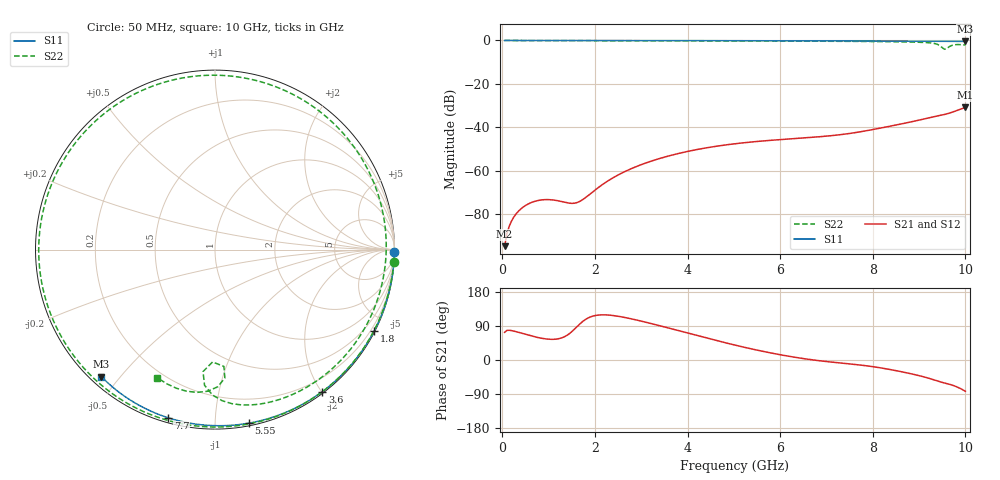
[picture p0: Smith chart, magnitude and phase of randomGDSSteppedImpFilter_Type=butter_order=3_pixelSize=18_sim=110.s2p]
! freq	dB(S11)	phase(S11)	dB(S12)	phase(S12)
!  dB(S21)	phase(S21)	dB(S22)	phase(S22)
!S-par simulation data
#  GHz  S  DB  R 50
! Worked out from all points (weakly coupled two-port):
!   200 points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, 50 MHz to 10 GHz, reference 50 ohm
!   highest |S21| = -30.77 dB at 10 GHz (marker M1); lowest = -94.6 dB at 50 MHz (marker M2)
!   lowest |S11| = -0.5 dB at 10 GHz (marker M3), VSWR 38.59, Z = 1.55 - j22.3 ohm
!   |S11| at or under -10 dB: nowhere
!   |S22| runs from -4.1 to 0.0 dB; largest |S21 - S12| = 0
!   S11 on the Smith chart (normalised r, x): 50 MHz: open; 1.8 GHz: 0.04, -4.15; 3.6 GHz: 0.02, -2.01; 5.55 GHz: 0.02, -1.21; 7.7 GHz: 0.02, -0.76; 10 GHz: 0.03, -0.45
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0.05  -0.01 -0.7  -94.56 73.0  -94.56 73.0  -0.00 -3.9
0.3  -0.01 -4.6  -79.67 74.7  -79.67 74.7  -0.04 -22.7
0.45  -0.01 -6.8  -76.60 69.5  -76.60 69.5  -0.05 -33.7
0.9  -0.02 -13.7  -73.20 56.3  -73.20 56.3  -0.08 -65.2
1.3  -0.02 -19.7  -74.16 59.2  -74.16 59.2  -0.10 -90.5
1.75  -0.03 -26.3  -72.97 102.9  -72.97 102.9  -0.12 -115.9
1.8  -0.03 -27.1  -72.20 107.2  -72.20 107.2  -0.12 -118.5
2.6  -0.05 -38.8  -60.75 113.3  -60.75 113.3  -0.14 -156.7
3.4  -0.07 -50.1  -54.25 90.4  -54.25 90.4  -0.16 170.0
3.6  -0.07 -52.9  -53.05 84.1  -53.05 84.1  -0.17 162.0
4.4  -0.09 -63.9  -49.39 58.4  -49.39 58.4  -0.20 130.7
5.05  -0.11 -72.5  -47.42 38.6  -47.42 38.6  -0.23 104.9
5.55  -0.13 -79.0  -46.34 24.8  -46.34 24.8  -0.26 84.6
6.7  -0.18 -93.4  -44.51 0.3  -44.51 0.3  -0.33 35.9
7.7  -0.24 -105.5  -42.10 -12.9  -42.10 -12.9  -0.43 -7.7
8.35  -0.29 -113.1  -39.52 -24.6  -39.52 -24.6  -0.56 -36.2
9.15  -0.36 -122.3  -35.86 -46.1  -35.86 -46.1  -0.96 -74.4
9.45  -0.39 -125.7  -34.45 -57.4  -34.45 -57.4  -2.41 -94.4
9.55  -0.40 -126.8  -34.02 -60.7  -34.02 -60.7  -4.07 -91.3
9.65  -0.41 -127.9  -33.44 -63.8  -33.44 -63.8  -2.89 -85.6
9.8  -0.43 -129.6  -32.33 -70.1  -32.33 -70.1  -1.92 -97.1
10  -0.45 -131.9  -30.77 -82.6  -30.77 -82.6  -2.13 -114.2
